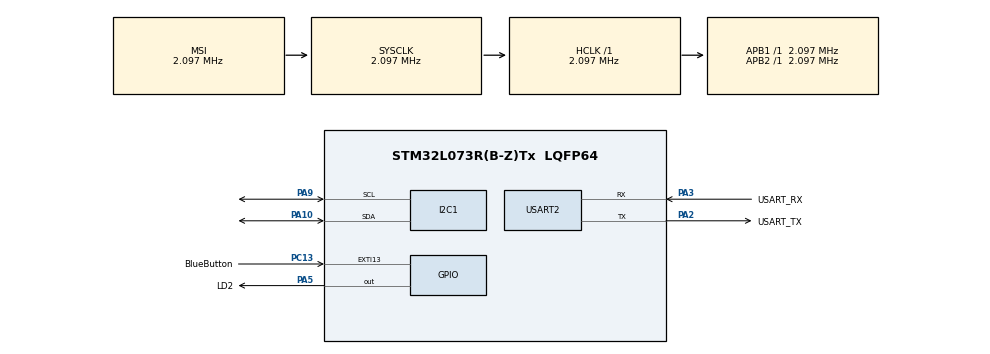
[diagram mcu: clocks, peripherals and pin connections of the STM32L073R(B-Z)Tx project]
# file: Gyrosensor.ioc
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Mcu.Family=STM32L0
Mcu.Name=STM32L073R(B-Z)Tx
Mcu.Package=LQFP64
NVIC.I2C1_IRQn=true\:0\:0\:false\:false\:true\:true\:true\:true
PA10.GPIO_Pu=GPIO_PULLUP
PA10.Mode=I2C
PA10.Signal=I2C1_SDA
PA13.GPIO_Label=TMS
PA13.Mode=Serial_Wire
PA13.Signal=SYS_SWDIO
PA14.GPIO_Label=TCK
PA14.Mode=Serial_Wire
PA14.Signal=SYS_SWCLK
PA2.GPIO_Label=USART_TX
PA2.Mode=Asynchronous
PA2.Signal=USART2_TX
PA3.GPIO_Label=USART_RX
PA3.Mode=Asynchronous
PA3.Signal=USART2_RX
PA5.GPIO_Label=LD2
PA5.Signal=GPIO_Output
PA9.GPIO_Pu=GPIO_PULLUP
PA9.Mode=I2C
PA9.Signal=I2C1_SCL
PC13.GPIO_Label=BlueButton
PC13.GPIO_ModeDefaultEXTI=GPIO_MODE_IT_FALLING
PC13.Signal=GPXTI13
PC14-OSC32_IN.Mode=LSE-External-Oscillator
PC14-OSC32_IN.Signal=RCC_OSC32_IN
PC15-OSC32_OUT.Mode=LSE-External-Oscillator
PC15-OSC32_OUT.Signal=RCC_OSC32_OUT
PH0-OSC_IN.GPIO_Label=MCO
PH0-OSC_IN.Mode=HSE-External-Clock-Source
PH0-OSC_IN.Signal=RCC_OSC_IN
ProjectManager.HeapSize=0x200
ProjectManager.StackSize=0x400
ProjectManager.TargetToolchain=STM32CubeIDE
RCC.AHBFreq_Value=2097000
RCC.APB1Freq_Value=2097000
RCC.APB1TimFreq_Value=2097000
RCC.APB2Freq_Value=2097000
RCC.APB2TimFreq_Value=2097000
RCC.HSE_VALUE=8000000
RCC.HSI16_VALUE=16000000
RCC.HSI48_VALUE=48000000
RCC.HSI_VALUE=16000000
RCC.MSI_VALUE=2097000
RCC.SYSCLKFreq_VALUE=2097000
RCC.VCOOutputFreq_Value=48000000
USART2.VirtualMode-Asynchronous=VM_ASYNC
board=NUCLEO-L073RZ

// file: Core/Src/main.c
/* USER CODE BEGIN Header */
/**
  ******************************************************************************
  * @file           : main.c
  * @brief          : Main program body
  ******************************************************************************
  * @attention
  *
  * Copyright (c) 2023 STMicroelectronics.
  * All rights reserved.
  *
  * This software is licensed under terms that can be found in the LICENSE file
  * in the root directory of this software component.
  * If no LICENSE file comes with this software, it is provided AS-IS.
  *
  ******************************************************************************
  */
/* USER CODE END Header */
#include "main.h"
#include "mpu6050.h"
#include <stdio.h>

/* USER CODE BEGIN PD */
#define MPU6050_ADDR (0x68 << 1)
#define WHO_AM_I_REG 0x75
#define PWR_MGMT_1_REG 0x6B
#define SMPLRT_DIV_REG 0x19
#define ACCEL_CONFIG_REG 0x1C
#define ACCEL_XOUT_H_REG 0x3B
#define TEMP_OUT_H_REG 0x41
#define GYRO_CONFIG_REG 0x1B
#define GYRO_XOUT_H_REG 0x43

#define SUCCESS 0
#define ERROR 1

struct MyFloat {
	int16_t l;
	int16_t r;
	float val;
};
typedef struct MyFloat MyFloat;

struct Accel {
	MyFloat x;
	MyFloat y;
	MyFloat z;

};
typedef struct Accel Accel;

struct Temp {

	MyFloat t;

};
typedef struct Temp Temp;

struct Gyro {
	MyFloat x;
	MyFloat y;
	MyFloat z;
};
typedef struct Gyro Gyro;

/* USER CODE END PD */

I2C_HandleTypeDef hi2c1;

UART_HandleTypeDef huart2;

/* USER CODE BEGIN PV */
MPU6050_t MPU6050;
/* USER CODE END PV */

void SystemClock_Config(void);
static void MX_GPIO_Init(void);
static void MX_USART2_UART_Init(void);
static void MX_I2C1_Init(void);

/* USER CODE BEGIN 0 */

int16_t accX, accY, accZ, gyrX, gyrY, gyrZ, tVal;
double temperature = 0.0;

uint16_t strlen(char* str) {
	int len = 0;
	while(*str != '\0') {
		str++;
		len++;
	}
	return len;
}

void uart_send_string(char *ptr) {
	  if(HAL_UART_Transmit(&huart2, (uint8_t*)ptr, strlen(ptr), 100) == HAL_OK) {
		  HAL_GPIO_TogglePin(LD2_GPIO_Port, LD2_Pin);
	  } else {
		  while(1) {
			  HAL_GPIO_TogglePin(LD2_GPIO_Port, LD2_Pin);
		  }
	  }
}

void uart_send_byte(uint8_t* data) {

	char c[20];
	snprintf(c, sizeof(c), "%d  \r\n", *data);
	uart_send_string(c);
}

void uart_send_temp(Temp* temperature) {
	char c[20];
	sprintf(c, "Temp: %d.%d °C \r\n", temperature->t.l, temperature->t.r);

	uart_send_string(c);
}

void uart_send_gyro(Gyro* gyro) {
	char c[100];
	//sprintf(c, "Gyro x: %d.%d ° \r\nGyro y: %d.%d ° \r\nGyro z: %d.%d ° \r\n", gyro->x.l, gyro->x.r, gyro->y.l, gyro->y.r, gyro->z.l, gyro->z.r);
	//sprintf(c, "Gyro x: %f \r\nGyro y: %f\r\n Gyro z: %f\r\n", gyro->x.val, gyro->y.val, gyro->z.val);
	sprintf(c, "%f %f %f \r\n",gyro->x.val, gyro->y.val, gyro->z.val);
	uart_send_string(c);
}

void uart_send_acc(Accel* acc) {
	char c[100];
	sprintf(c, "Accel x: %d.%d  \r\nAccel y: %d.%d  \r\nAccel z: %d.%d  \r\n", acc->x.l, acc->x.r, acc->y.l, acc->y.r, acc->z.l, acc->z.r);
	uart_send_string(c);
}

void float_to_myfloat(float* val, MyFloat* myfloat) {
	myfloat->l = (int16_t) *val;
	myfloat->r = (int16_t)((*val - myfloat->l) * 1000);
}

uint8_t init_mpu6050(I2C_HandleTypeDef* i2c_ptr) {
	uint8_t check;
	uint8_t data;

	HAL_I2C_Mem_Read(i2c_ptr, MPU6050_ADDR, WHO_AM_I_REG, 1, &check, 1, 100);

	if(check == (MPU6050_ADDR >> 1)) {
		data = 0x00;
		if(HAL_I2C_Mem_Write(i2c_ptr, MPU6050_ADDR, PWR_MGMT_1_REG, 1, &data, 1, 100) == HAL_OK) uart_send_string("wake up sensor! \r\n");

		data = 0x07;
		if(HAL_I2C_Mem_Write(i2c_ptr, MPU6050_ADDR, SMPLRT_DIV_REG, 1, &data, 1, 100) == HAL_OK) uart_send_string("set data rate to 1kHz \r\n");

		data = 0x00;
		if(HAL_I2C_Mem_Write(i2c_ptr, MPU6050_ADDR, ACCEL_CONFIG_REG, 1, &data, 1, 100) == HAL_OK) uart_send_string("set accelerometer config \r\n");

		data = 0x00;
		if(HAL_I2C_Mem_Write(i2c_ptr, MPU6050_ADDR, GYRO_CONFIG_REG, 1, &data, 1, 100) == HAL_OK) uart_send_string("set gyroscopic config \r\n");

		return SUCCESS;
	} else {
		uart_send_string("Error: device is not reachable  \r\n");
		return ERROR;
	}
}

uint8_t read_mpu6050_temp(I2C_HandleTypeDef* i2c_ptr, Temp* temperature) {
	uint8_t data[2];
	int16_t temp;

	if(HAL_I2C_Mem_Read(i2c_ptr, MPU6050_ADDR, TEMP_OUT_H_REG, 1, data, 2, 10) == HAL_OK) {
		temp = (int16_t)((data[0] << 8) | data[0]);
		temperature->t.val = (double)((int16_t)temp / 340.0 + 36.53);
		float_to_myfloat(&temperature->t.val, &temperature->t);

		return SUCCESS;
	} else {
		uart_send_string("Error: cant read temp\r\n ");
		return ERROR;
	}
}

uint8_t read_mpu6050_gyro(I2C_HandleTypeDef* i2c_ptr, Gyro* gyrovalue) {
	uint8_t data[6];

	if(HAL_I2C_Mem_Read(i2c_ptr, MPU6050_ADDR, GYRO_XOUT_H_REG, 1, data, 6, 100) == HAL_OK) {
		uint16_t x = ((data[0] << 8) | data[1]);
		gyrovalue->x.val = x / (131 * 0.001);
		//gyrovalue->x.val = (x / 131.0 - 151) * 0.2 * -1 * 0.15;
		//gyrovalue->x.val = (float)(((data[0] << 8) | data[1]));
		float_to_myfloat(&gyrovalue->x.val, &gyrovalue->x);

		uint16_t y = ((data[2] << 8) | data[3]);
		gyrovalue->y.val = y / (131 * 0.001);
		//gyrovalue->y.val = (float)(((data[2] << 8) | data[3]) / 131.0);
		//gyrovalue->y.val = (float)(((data[2] << 8) | data[3]));
		float_to_myfloat(&gyrovalue->y.val, &gyrovalue->y);

		uint16_t z = ((data[4] << 8) | data[5]);
		gyrovalue->z.val = z / (131 * 0.001);
		//gyrovalue->z.val = (float)(((data[4] << 8) | data[5]) / 131.0);
		//gyrovalue->z.val = (float)(((data[4] << 8) | data[5]));
		float_to_myfloat(&gyrovalue->z.val, &gyrovalue->z);

		return SUCCESS;
	} else {
		uart_send_string("Error: cant read gyro \r\n");
		return ERROR;
	}
}

uint8_t read_mpu6050_acc(I2C_HandleTypeDef* i2c_ptr, Accel* acc) {
	uint8_t data[6];

	if(HAL_I2C_Mem_Read(i2c_ptr, MPU6050_ADDR, ACCEL_XOUT_H_REG, 1, data, 6, 10) == HAL_OK) {
		acc->x.val = (float)(((data[0] << 8) | data[1]) / 16384.0);
		float_to_myfloat(&acc->x.val, &acc->x);

		acc->y.val = (float)(((data[2] << 8) | data[3]) / 16384.0);
		float_to_myfloat(&acc->y.val, &acc->y);

		acc->z.val = (float)(((data[4] << 8) | data[5]) / 16384.0);
		float_to_myfloat(&acc->z.val, &acc->z);

		return SUCCESS;
	} else {
		uart_send_string("Error: cant read gyro \r\n");
		return ERROR;
	}
}

/* USER CODE END 0 */

int main(void)
{

  /* MCU Configuration--------------------------------------------------------*/

  /* Reset of all peripherals, Initializes the Flash interface and the Systick. */
  HAL_Init();

  /* Configure the system clock */
  SystemClock_Config();

  /* Initialize all configured peripherals */
  MX_GPIO_Init();
  MX_USART2_UART_Init();
  MX_I2C1_Init();
  /* USER CODE BEGIN 2 */
  //init_mpu6050(&hi2c1);
  while (MPU6050_Init(&hi2c1) == 1);

  Temp temperatur;
  Gyro gyro;
  Accel acc;

  /* USER CODE END 2 */

  /* Infinite loop */
  while (1)
  {

    /* USER CODE BEGIN 3 */

	  //if (HAL_GPIO_ReadPin(BlueButton_GPIO_Port, BlueButton_Pin)) {
		  /*
		  if(read_mpu6050_temp(&hi2c1, &temperatur) == SUCCESS) {
			  uart_send_temp(&temperatur);
		  }
		  */

	  MPU6050_Read_All(&hi2c1, &MPU6050);
	  HAL_Delay (100);

	  	  char c[50];

	  	  sprintf(c, "%f %f \r\n", MPU6050.KalmanAngleX, MPU6050.KalmanAngleY);

	  	  uart_send_string(c);
		  /*
		  if(read_mpu6050_acc(&hi2c1, &acc) == SUCCESS) {
			  uart_send_acc(&acc);
		  }
		  */

		  //while(HAL_GPIO_ReadPin(BlueButton_GPIO_Port, BlueButton_Pin)) {
			  //HAL_Delay(50);
		  //}

		  //uart_send_string("\r\n\r\n");
	  //}

  }
  /* USER CODE END 3 */
}

void SystemClock_Config(void)
{
  RCC_OscInitTypeDef RCC_OscInitStruct = {0};
  RCC_ClkInitTypeDef RCC_ClkInitStruct = {0};
  RCC_PeriphCLKInitTypeDef PeriphClkInit = {0};

  /** Configure the main internal regulator output voltage
  */
  __HAL_PWR_VOLTAGESCALING_CONFIG(PWR_REGULATOR_VOLTAGE_SCALE1);

  /** Initializes the RCC Oscillators according to the specified parameters
  * in the RCC_OscInitTypeDef structure.
  */
  RCC_OscInitStruct.OscillatorType = RCC_OSCILLATORTYPE_MSI;
  RCC_OscInitStruct.MSIState = RCC_MSI_ON;
  RCC_OscInitStruct.MSICalibrationValue = 0;
  RCC_OscInitStruct.MSIClockRange = RCC_MSIRANGE_5;
  RCC_OscInitStruct.PLL.PLLState = RCC_PLL_NONE;
  if (HAL_RCC_OscConfig(&RCC_OscInitStruct) != HAL_OK)
  {
    Error_Handler();
  }

  /** Initializes the CPU, AHB and APB buses clocks
  */
  RCC_ClkInitStruct.ClockType = RCC_CLOCKTYPE_HCLK|RCC_CLOCKTYPE_SYSCLK
                              |RCC_CLOCKTYPE_PCLK1|RCC_CLOCKTYPE_PCLK2;
  RCC_ClkInitStruct.SYSCLKSource = RCC_SYSCLKSOURCE_MSI;
  RCC_ClkInitStruct.AHBCLKDivider = RCC_SYSCLK_DIV1;
  RCC_ClkInitStruct.APB1CLKDivider = RCC_HCLK_DIV1;
  RCC_ClkInitStruct.APB2CLKDivider = RCC_HCLK_DIV1;

  if (HAL_RCC_ClockConfig(&RCC_ClkInitStruct, FLASH_LATENCY_0) != HAL_OK)
  {
    Error_Handler();
  }
  PeriphClkInit.PeriphClockSelection = RCC_PERIPHCLK_USART2|RCC_PERIPHCLK_I2C1;
  PeriphClkInit.Usart2ClockSelection = RCC_USART2CLKSOURCE_PCLK1;
  PeriphClkInit.I2c1ClockSelection = RCC_I2C1CLKSOURCE_PCLK1;
  if (HAL_RCCEx_PeriphCLKConfig(&PeriphClkInit) != HAL_OK)
  {
    Error_Handler();
  }
}

static void MX_I2C1_Init(void)
{

  hi2c1.Instance = I2C1;
  hi2c1.Init.Timing = 0x00000708;
  hi2c1.Init.OwnAddress1 = 0;
  hi2c1.Init.AddressingMode = I2C_ADDRESSINGMODE_7BIT;
  hi2c1.Init.DualAddressMode = I2C_DUALADDRESS_DISABLE;
  hi2c1.Init.OwnAddress2 = 0;
  hi2c1.Init.OwnAddress2Masks = I2C_OA2_NOMASK;
  hi2c1.Init.GeneralCallMode = I2C_GENERALCALL_DISABLE;
  hi2c1.Init.NoStretchMode = I2C_NOSTRETCH_DISABLE;
  if (HAL_I2C_Init(&hi2c1) != HAL_OK)
  {
    Error_Handler();
  }

  /** Configure Analogue filter
  */
  if (HAL_I2CEx_ConfigAnalogFilter(&hi2c1, I2C_ANALOGFILTER_ENABLE) != HAL_OK)
  {
    Error_Handler();
  }

  /** Configure Digital filter
  */
  if (HAL_I2CEx_ConfigDigitalFilter(&hi2c1, 0) != HAL_OK)
  {
    Error_Handler();
  }

}

static void MX_USART2_UART_Init(void)
{

  huart2.Instance = USART2;
  huart2.Init.BaudRate = 115200;
  huart2.Init.WordLength = UART_WORDLENGTH_8B;
  huart2.Init.StopBits = UART_STOPBITS_1;
  huart2.Init.Parity = UART_PARITY_NONE;
  huart2.Init.Mode = UART_MODE_TX_RX;
  huart2.Init.HwFlowCtl = UART_HWCONTROL_NONE;
  huart2.Init.OverSampling = UART_OVERSAMPLING_16;
  huart2.Init.OneBitSampling = UART_ONE_BIT_SAMPLE_DISABLE;
  huart2.AdvancedInit.AdvFeatureInit = UART_ADVFEATURE_NO_INIT;
  if (HAL_UART_Init(&huart2) != HAL_OK)
  {
    Error_Handler();
  }

}

static void MX_GPIO_Init(void)
{
  GPIO_InitTypeDef GPIO_InitStruct = {0};

  /* GPIO Ports Clock Enable */
  __HAL_RCC_GPIOC_CLK_ENABLE();
  __HAL_RCC_GPIOH_CLK_ENABLE();
  __HAL_RCC_GPIOA_CLK_ENABLE();

  /*Configure GPIO pin Output Level */
  HAL_GPIO_WritePin(LD2_GPIO_Port, LD2_Pin, GPIO_PIN_RESET);

  /*Configure GPIO pin : BlueButton_Pin */
  GPIO_InitStruct.Pin = BlueButton_Pin;
  GPIO_InitStruct.Mode = GPIO_MODE_IT_FALLING;
  GPIO_InitStruct.Pull = GPIO_NOPULL;
  HAL_GPIO_Init(BlueButton_GPIO_Port, &GPIO_InitStruct);

  /*Configure GPIO pin : LD2_Pin */
  GPIO_InitStruct.Pin = LD2_Pin;
  GPIO_InitStruct.Mode = GPIO_MODE_OUTPUT_PP;
  GPIO_InitStruct.Pull = GPIO_NOPULL;
  GPIO_InitStruct.Speed = GPIO_SPEED_FREQ_LOW;
  HAL_GPIO_Init(LD2_GPIO_Port, &GPIO_InitStruct);

}

void Error_Handler(void)
{
  __disable_irq();
  while (1)
  {
  }
}
